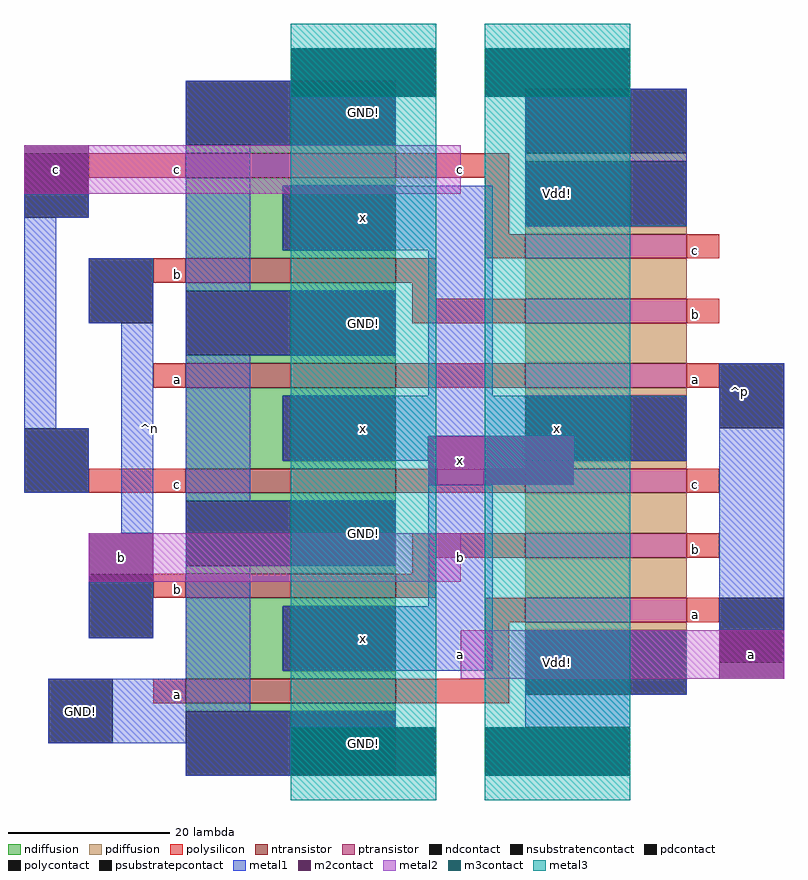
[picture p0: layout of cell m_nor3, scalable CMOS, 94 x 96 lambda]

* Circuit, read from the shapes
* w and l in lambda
.subckt m_nor3 GND! Vdd! a b c x
M1 x a GND! GND! nfet w=26 l=3 m=2
M2 GND! b x GND! nfet w=26 l=3 m=2
M3 x c GND! GND! nfet w=26 l=3 m=2
M4 n1 a Vdd! Vdd! pfet w=20 l=3
M5 n2 b n1 Vdd! pfet w=20 l=3
M6 x c n2 Vdd! pfet w=20 l=3
M7 n3 a x Vdd! pfet w=20 l=3
M8 n4 b n3 Vdd! pfet w=20 l=3
M9 Vdd! c n4 Vdd! pfet w=20 l=3
.ends

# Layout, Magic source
magic
tech scmos
<< ndiffusion >>
rect -34 4 -8 5
rect -34 0 -8 1
rect -34 -8 -22 0
rect -34 -9 -8 -8
rect -34 -13 -8 -12
rect -34 -22 -8 -21
rect -34 -26 -8 -25
rect -34 -34 -22 -26
rect -34 -35 -8 -34
rect -34 -39 -8 -38
rect -34 -48 -8 -47
rect -34 -52 -8 -51
rect -34 -60 -22 -52
rect -34 -61 -8 -60
rect -34 -65 -8 -64
<< pdiffusion >>
rect 8 3 28 4
rect 8 -6 28 -5
rect 8 -14 28 -9
rect 8 -22 28 -17
rect 8 -26 28 -25
rect 8 -35 28 -34
rect 8 -43 28 -38
rect 8 -51 28 -46
rect 8 -55 28 -54
<< ntransistor >>
rect -34 1 -8 4
rect -34 -12 -8 -9
rect -34 -25 -8 -22
rect -34 -38 -8 -35
rect -34 -51 -8 -48
rect -34 -64 -8 -61
<< ptransistor >>
rect 8 -9 28 -6
rect 8 -17 28 -14
rect 8 -25 28 -22
rect 8 -38 28 -35
rect 8 -46 28 -43
rect 8 -54 28 -51
<< polysilicon >>
rect -46 1 -34 4
rect -8 1 6 4
rect 3 -6 6 1
rect 3 -9 8 -6
rect 28 -9 32 -6
rect -38 -12 -34 -9
rect -8 -12 -3 -9
rect -6 -14 -3 -12
rect -6 -17 8 -14
rect 28 -17 32 -14
rect -38 -25 -34 -22
rect -8 -25 8 -22
rect 28 -25 32 -22
rect -46 -38 -34 -35
rect -8 -38 8 -35
rect 28 -38 32 -35
rect -6 -46 8 -43
rect 28 -46 32 -43
rect -6 -48 -3 -46
rect -38 -51 -34 -48
rect -8 -51 -3 -48
rect 3 -54 8 -51
rect 28 -54 32 -51
rect 3 -61 6 -54
rect -38 -64 -34 -61
rect -8 -64 6 -61
<< ndcontact >>
rect -34 5 -8 13
rect -22 -8 -8 0
rect -34 -21 -8 -13
rect -22 -34 -8 -26
rect -34 -47 -8 -39
rect -22 -60 -8 -52
rect -34 -73 -8 -65
<< pdcontact >>
rect 8 -5 28 3
rect 8 -34 28 -26
rect 8 -63 28 -55
<< psubstratepcontact >>
rect -51 -69 -43 -61
<< nsubstratencontact >>
rect 8 4 28 12
<< polycontact >>
rect -54 -4 -46 4
rect -46 -17 -38 -9
rect -54 -38 -46 -30
rect 32 -30 40 -22
rect -46 -56 -38 -48
rect 32 -59 40 -51
<< metal1 >>
rect -34 11 -21 13
rect 21 11 28 12
rect -34 5 -8 11
rect -54 -4 -46 -1
rect -54 -30 -50 -4
rect -46 -17 -38 -9
rect -54 -38 -46 -30
rect -42 -43 -38 -17
rect -46 -56 -38 -49
rect -34 -13 -26 5
rect -22 -8 4 0
rect 8 -5 28 11
rect -34 -21 -8 -13
rect -34 -39 -26 -21
rect -4 -26 4 -8
rect -22 -31 28 -26
rect -22 -34 -4 -31
rect 14 -34 28 -31
rect -34 -47 -8 -39
rect -34 -61 -26 -47
rect -4 -52 4 -37
rect -22 -60 4 -52
rect 32 -55 40 -22
rect -51 -65 -26 -61
rect 8 -63 28 -55
rect -51 -67 -8 -65
rect 8 -67 21 -63
rect -51 -69 -21 -67
rect -34 -73 -21 -69
<< m2contact >>
rect -21 11 -3 17
rect 3 11 21 17
rect -54 -1 -46 5
rect -46 -49 -38 -43
rect -4 -37 14 -31
rect 32 -61 40 -55
rect -21 -73 -3 -67
rect 3 -73 21 -67
<< metal2 >>
rect -54 -1 0 5
rect -4 -37 14 -31
rect -46 -49 0 -43
rect 0 -61 40 -55
<< m3contact >>
rect -21 11 -3 17
rect 3 11 21 17
rect -21 -73 -3 -67
rect 3 -73 21 -67
<< metal3 >>
rect -21 -76 -3 20
rect 3 -76 21 20
<< labels >>
rlabel metal1 12 -30 12 -30 5 x
rlabel metal1 12 -59 12 -59 1 Vdd!
rlabel metal1 12 -1 12 -1 1 Vdd!
rlabel polysilicon 29 -24 29 -24 7 a
rlabel polysilicon 29 -16 29 -16 7 b
rlabel polysilicon 29 -8 29 -8 7 c
rlabel polysilicon 29 -37 29 -37 7 c
rlabel polysilicon 29 -45 29 -45 7 b
rlabel polysilicon 29 -53 29 -53 7 a
rlabel polysilicon -35 -11 -35 -11 1 b
rlabel polysilicon -35 -24 -35 -24 1 a
rlabel polysilicon -35 2 -35 2 1 c
rlabel polysilicon -35 -50 -35 -50 1 b
rlabel polysilicon -35 -63 -35 -63 1 a
rlabel polysilicon -35 -37 -35 -37 1 c
rlabel m2contact -12 -69 -12 -69 1 GND!
rlabel metal1 -12 -43 -12 -43 1 GND!
rlabel metal1 -12 -17 -12 -17 1 GND!
rlabel metal1 -12 9 -12 9 1 GND!
rlabel metal1 -12 -4 -12 -4 1 x
rlabel metal1 -12 -30 -12 -30 1 x
rlabel metal1 -12 -56 -12 -56 1 x
rlabel metal2 0 -61 0 -55 3 a
rlabel metal2 0 -49 0 -43 7 b
rlabel metal2 0 -34 0 -34 1 x
rlabel metal2 0 -1 0 5 7 c
rlabel space -55 -74 -22 14 7 ^n
rlabel metal1 -47 -65 -47 -65 1 GND!
rlabel space 28 -63 41 12 3 ^p
rlabel metal2 -42 -46 -42 -46 1 b
rlabel metal2 36 -58 36 -58 7 a
rlabel metal2 -50 2 -50 2 3 c
<< end >>
